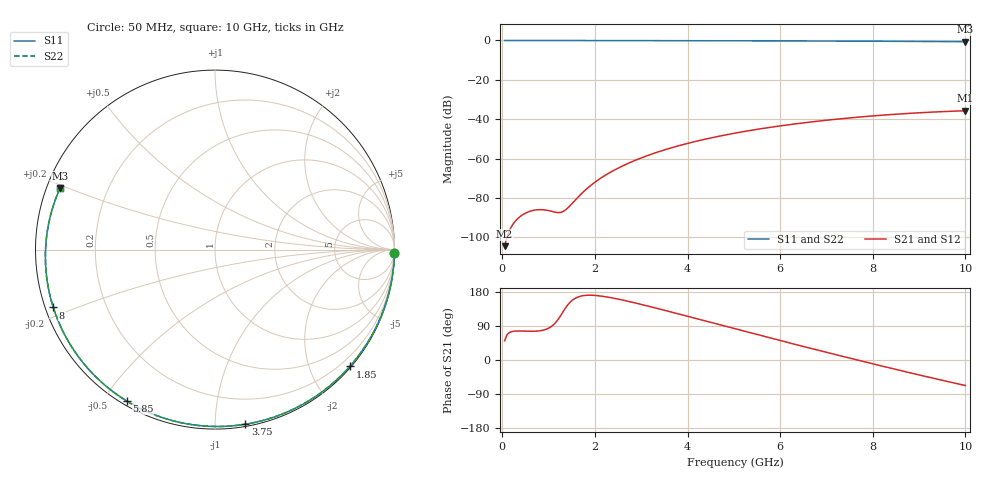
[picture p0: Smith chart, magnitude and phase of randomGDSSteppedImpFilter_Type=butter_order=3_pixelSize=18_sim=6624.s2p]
! freq	dB(S11)	phase(S11)	dB(S12)	phase(S12)
!  dB(S21)	phase(S21)	dB(S22)	phase(S22)
!S-par simulation data
#  GHz  S  DB  R 50
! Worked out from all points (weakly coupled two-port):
!   200 points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, 50 MHz to 10 GHz, reference 50 ohm
!   highest |S21| = -35.72 dB at 10 GHz (marker M1); lowest = -104.5 dB at 50 MHz (marker M2)
!   lowest |S11| = -0.6 dB at 10 GHz (marker M3), VSWR 27.13, Z = 1.91 + j9.54 ohm
!   |S11| at or under -10 dB: nowhere
!   |S22| runs from -0.6 to 0.0 dB; largest |S21 - S12| = 0
!   S11 on the Smith chart (normalised r, x): 50 MHz: open; 1.85 GHz: 0.02, -2.68; 3.75 GHz: 0.02, -1.19; 5.85 GHz: 0.02, -0.57; 8 GHz: 0.02, -0.17; 10 GHz: 0.04, +0.19
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0.05  -0.00 -1.1  -104.53 50.7  -104.53 50.7  -0.00 -1.1
0.4  -0.01 -9.0  -89.20 76.5  -89.20 76.5  -0.01 -9.0
0.8  -0.02 -18.0  -85.97 76.9  -85.97 76.9  -0.02 -18.0
1.6  -0.05 -35.5  -80.46 164.4  -80.46 164.4  -0.05 -35.5
1.65  -0.05 -36.6  -79.23 166.9  -79.23 166.9  -0.05 -36.6
1.75  -0.05 -38.8  -76.92 169.8  -76.92 169.8  -0.05 -38.8
1.85  -0.05 -40.9  -74.83 170.9  -74.83 170.9  -0.05 -40.9
2.15  -0.06 -47.3  -69.60 168.4  -69.60 168.4  -0.06 -47.3
2.5  -0.07 -54.7  -64.89 160.7  -64.89 160.7  -0.07 -54.7
2.9  -0.08 -63.0  -60.61 149.7  -60.61 149.7  -0.08 -63.0
3.4  -0.10 -73.2  -56.36 134.4  -56.36 134.4  -0.10 -73.2
3.75  -0.11 -80.2  -53.88 123.3  -53.88 123.3  -0.11 -80.2
4.4  -0.13 -92.9  -50.06 102.4  -50.06 102.4  -0.13 -92.9
5.05  -0.16 -105.3  -46.97 81.5  -46.97 81.5  -0.16 -105.3
5.85  -0.21 -120.2  -43.91 56.0  -43.91 56.0  -0.21 -120.2
6.7  -0.26 -136.0  -41.32 29.5  -41.32 29.5  -0.26 -136.0
7.35  -0.32 -148.0  -39.70 9.5  -39.70 9.5  -0.32 -148.0
8  -0.38 -160.3  -38.34 -10.1  -38.34 -10.1  -0.38 -160.3
8.35  -0.42 -167.1  -37.72 -20.5  -37.72 -20.5  -0.42 -167.1
9.2  -0.53 175.7  -36.50 -45.1  -36.50 -45.1  -0.53 175.7
9.6  -0.58 167.2  -36.07 -56.4  -36.07 -56.4  -0.58 167.2
10  -0.64 158.4  -35.72 -67.3  -35.72 -67.3  -0.64 158.4
